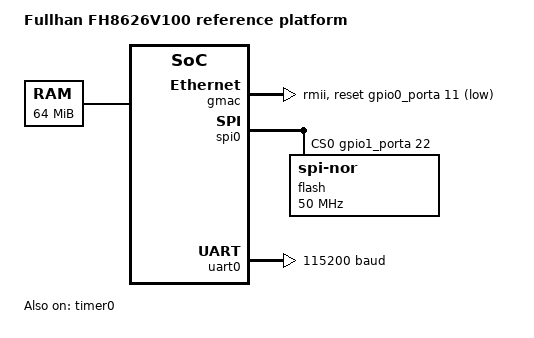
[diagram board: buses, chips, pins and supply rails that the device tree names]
// SPDX-License-Identifier: GPL-2.0+
/dts-v1/;

#include <dt-bindings/gpio/gpio.h>

/ {
	model = "Fullhan FH8626V100 reference platform";
	compatible = "fullhan,fh8626v100";

	#address-cells = <1>;
	#size-cells = <1>;

	aliases {
		serial0 = &uart0;
		ethernet0 = &gmac;
		spi0 = &spi0;
	};

	chosen {
		stdout-path = "serial0:115200n8";
	};

	memory@a0000000 {
		device_type = "memory";
		reg = <0xa0000000 0x04000000>;
	};

	timer_clk: clock-1000000 {
		compatible = "fixed-clock";
		#clock-cells = <0>;
		clock-frequency = <1000000>;
	};

	spi_clk: clock-100000000 {
		compatible = "fixed-clock";
		#clock-cells = <0>;
		clock-frequency = <100000000>;
	};

	gpio0: gpio@f0300000 {
		compatible = "snps,dw-apb-gpio";
		reg = <0xf0300000 0x4000>;
		#address-cells = <1>;
		#size-cells = <0>;

		gpio0_porta: gpio-controller@0 {
			compatible = "snps,dw-apb-gpio-port";
			gpio-controller;
			#gpio-cells = <2>;
			ngpios = <32>;
			reg = <0>;
			bank-name = "GPIO0";
		};
	};

	gpio1: gpio@f4000000 {
		compatible = "snps,dw-apb-gpio";
		reg = <0xf4000000 0x4000>;
		#address-cells = <1>;
		#size-cells = <0>;

		gpio1_porta: gpio-controller@0 {
			compatible = "snps,dw-apb-gpio-port";
			gpio-controller;
			#gpio-cells = <2>;
			ngpios = <32>;
			reg = <0>;
			bank-name = "GPIO1";
		};
	};

	gmac: ethernet@e0600000 {
		compatible = "fullhan,fh8626v100-dwmac";
		reg = <0xe0600000 0x4000>;
		phy-mode = "rmii";
		max-speed = <100>;
		snps,clk-csr = <4>;
		snps,reset-gpio = <&gpio0_porta 11 GPIO_ACTIVE_LOW>;
		snps,reset-active-low;
		snps,reset-delays-us = <0 15000 200000>;
		status = "okay";
	};

	spi0: spi@f0e00000 {
		compatible = "fullhan,fh8626v100-spi";
		reg = <0xf0e00000 0x4000>;
		clocks = <&spi_clk>;
		spi-max-frequency = <50000000>;
		/* The DW SSI driver drives physical CS levels explicitly. */
		cs-gpios = <&gpio1_porta 22 GPIO_ACTIVE_HIGH>;
		#address-cells = <1>;
		#size-cells = <0>;
		status = "okay";

		flash@0 {
			compatible = "jedec,spi-nor";
			reg = <0>;
			spi-max-frequency = <50000000>;
		};
	};

	uart0: serial@f0700000 {
		compatible = "snps,dw-apb-uart";
		reg = <0xf0700000 0x1000>;
		reg-shift = <2>;
		reg-io-width = <4>;
		clock-frequency = <16666667>;
		current-speed = <115200>;
		status = "okay";
		bootph-all;
	};

	timer0: timer@f0c00000 {
		compatible = "snps,dw-apb-timer";
		reg = <0xf0c00000 0x1000>;
		clocks = <&timer_clk>;
		status = "okay";
	};
};
